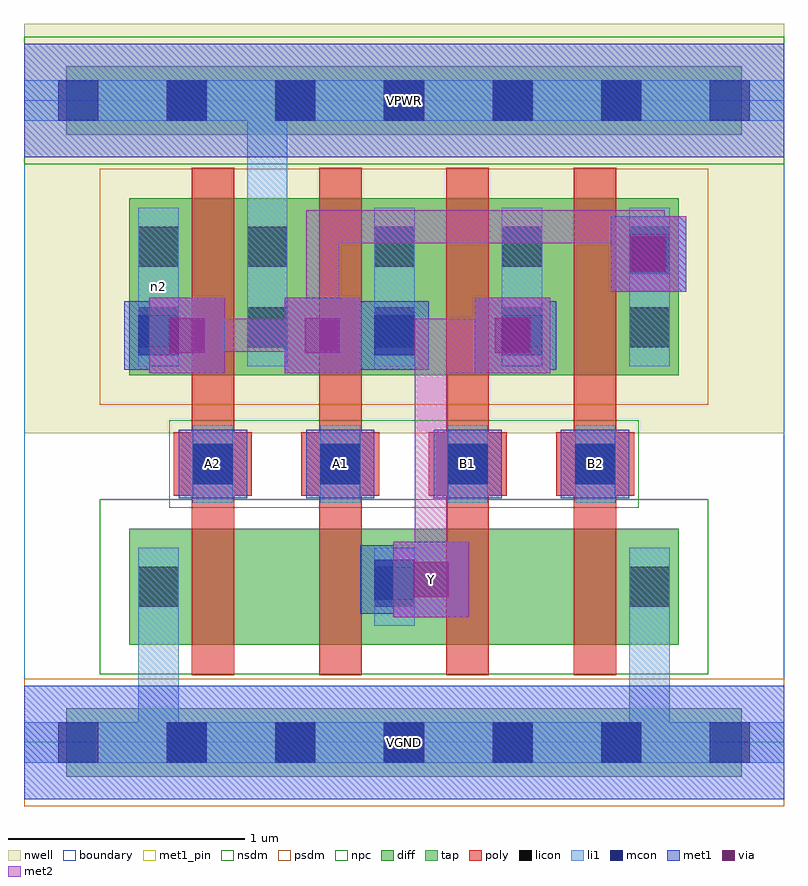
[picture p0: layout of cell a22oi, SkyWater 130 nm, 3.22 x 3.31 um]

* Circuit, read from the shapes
.subckt a22oi A1 A2 B1 B2 VGND VPWR Y n2
XM1 n1 A2 VGND VGND sky130_fd_pr__nfet_01v8 w=0.49 l=0.18
XM2 Y A1 n1 VGND sky130_fd_pr__nfet_01v8 w=0.49 l=0.18
XM3 n3 B1 Y VGND sky130_fd_pr__nfet_01v8 w=0.49 l=0.18
XM4 VGND B2 n3 VGND sky130_fd_pr__nfet_01v8 w=0.49 l=0.18
XM5 VPWR A2 n2 VPWR sky130_fd_pr__pfet_01v8 w=0.75 l=0.18
XM6 n2 A1 VPWR VPWR sky130_fd_pr__pfet_01v8 w=0.75 l=0.18
XM7 Y B1 n2 VPWR sky130_fd_pr__pfet_01v8 w=0.75 l=0.18
XM8 n2 B2 Y VPWR sky130_fd_pr__pfet_01v8 w=0.75 l=0.18
.ends

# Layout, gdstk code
import gdstk
lib = gdstk.Library(unit=1e-6, precision=1e-09)
def R(c, l, rs):  # rectangles x0, y0, x1, y1
    for r in rs: c.add(gdstk.rectangle(r[:2], r[2:], *l))
def A(c, l, x, y, w, h, nx, ny, dx, dy):  # array of equal rectangles
    R(c, l, [(x+i*dx, y+j*dy, x+i*dx+w, y+j*dy+h) for i in range(nx) for j in range(ny)])
nwell = (64, 20)
diff = (65, 20)
tap = (65, 44)
poly = (66, 20)
licon = (66, 44)
li1 = (67, 20)
mcon = (67, 44)
met1_pin = (68, 16)
met1 = (68, 20)
via = (68, 44)
met2 = (69, 20)
nsdm = (93, 44)
psdm = (94, 20)
npc = (95, 20)
boundary = (235, 4)

a22oi = lib.new_cell('a22oi')
R(a22oi, nwell, [(0,1.31,3.22,3.045)])
R(a22oi, diff, [(0.445,0.415,2.775,0.905), (0.445,1.555,2.775,2.305)])
R(a22oi, tap, [(0.18,-0.145,3.04,0.145), (0.18,2.575,3.04,2.865)])
A(a22oi, poly, 0.71, 0.285, 0.18, 2.15, 4, 1, 0.54, 0)
A(a22oi, poly, 0.635, 1.045, 0.33, 0.27, 4, 1, 0.54, 0)
A(a22oi, licon, 0.605, -0.085, 0.17, 0.17, 5, 2, 0.46, 2.72)
A(a22oi, licon, 0.715, 1.095, 0.17, 0.17, 4, 1, 0.54, 0)
A(a22oi, licon, 0.945, 1.675, 0.17, 0.17, 4, 2, 0.54, 0.34)
R(a22oi, licon, [(0.485,0.575,0.655,0.745), (1.485,0.575,1.655,0.745), (2.565,0.575,2.735,0.745), (0.485,1.675,0.655,1.845), (0.485,2.015,0.655,2.185)])
A(a22oi, li1, 0.715, 1.015, 0.17, 0.33, 4, 1, 0.54, 0)
A(a22oi, li1, 0.945, 1.595, 0.17, 0.67, 4, 1, 0.54, 0)
R(a22oi, li1, [(0,-0.085,3.22,0.085), (0.485,-0.085,0.655,0.825), (2.565,-0.085,2.735,0.825), (0.485,0.495,0.655,0.825), (1.485,0.495,1.655,0.825), (2.565,0.495,2.735,0.825), (0.485,1.595,0.655,2.265), (0.945,1.595,1.115,2.805), (0,2.635,3.22,2.805)])
A(a22oi, mcon, 0.145, -0.085, 0.17, 0.17, 7, 2, 0.46, 2.72)
A(a22oi, mcon, 0.715, 1.095, 0.17, 0.17, 4, 1, 0.54, 0)
R(a22oi, mcon, [(1.485,0.605,1.655,0.775), (0.485,1.64,0.655,1.81), (1.485,1.64,1.655,1.81), (2.025,1.64,2.195,1.81), (2.565,1.985,2.735,2.155)])
A(a22oi, met1_pin, 0.655, 1.035, 0.29, 0.29, 4, 1, 0.54, 0)
R(a22oi, met1_pin, [(0,-0.24,3.22,0.24), (1.565,0.53,1.885,0.85), (0,2.48,3.22,2.96)])
A(a22oi, met1, 0.655, 1.035, 0.29, 0.29, 4, 1, 0.54, 0)
R(a22oi, met1, [(0,-0.24,3.22,0.24), (1.565,0.53,1.885,0.85), (1.425,0.545,1.715,0.835), (1.5,0.62,1.795,0.76), (0.53,1.565,0.85,1.885), (1.105,1.565,1.425,1.885), (1.91,1.565,2.23,1.885), (0.425,1.58,0.715,1.87), (1.425,1.58,1.715,1.87), (1.965,1.58,2.255,1.87), (0.5,1.655,0.76,1.795), (1.195,1.655,1.45,1.795), (1.31,1.655,1.64,1.795), (2,1.655,2.18,1.795), (2.485,1.91,2.805,2.23), (2.505,1.925,2.795,2.215), (2.575,2,2.72,2.14), (0,2.48,3.22,2.96)])
R(a22oi, via, [(1.65,0.615,1.8,0.765), (0.615,1.65,0.765,1.8), (1.19,1.65,1.34,1.8), (1.995,1.65,2.145,1.8), (2.57,1.995,2.72,2.145)])
R(a22oi, met2, [(1.565,0.53,1.885,0.85), (1.655,0.62,1.795,1.795), (0.53,1.565,0.85,1.885), (1.105,1.565,1.425,1.885), (1.795,1.565,1.91,1.795), (1.91,1.565,2.23,1.885), (0.62,1.655,1.335,1.795), (1.195,1.655,1.335,2.255), (1.655,1.655,2.14,1.795), (2.485,1.91,2.805,2.23), (2.575,2,2.715,2.255), (1.195,2.115,2.715,2.255)])
R(a22oi, nsdm, [(0.32,0.29,2.9,1.03), (0,2.45,3.22,2.99)])
R(a22oi, psdm, [(0,-0.27,3.22,0.27), (0.32,1.43,2.9,2.43)])
R(a22oi, npc, [(0.615,0.995,2.605,1.365)])
R(a22oi, boundary, [(0,0,3.22,2.72)])
a22oi.add(gdstk.Label('n2', (0.57,1.93), layer=67, texttype=5))
a22oi.add(gdstk.Label('A1', (1.34,1.18), layer=68, texttype=5))
a22oi.add(gdstk.Label('A2', (0.8,1.18), layer=68, texttype=5))
a22oi.add(gdstk.Label('B1', (1.88,1.18), layer=68, texttype=5))
a22oi.add(gdstk.Label('B2', (2.42,1.18), layer=68, texttype=5))
a22oi.add(gdstk.Label('Y', (1.725,0.69), layer=68, texttype=5))
a22oi.add(gdstk.Label('VPWR', (1.61,2.72), layer=68, texttype=5))
a22oi.add(gdstk.Label('VGND', (1.61,0), layer=68, texttype=5))
a22oi.add(gdstk.Label('A1', (1.34,1.18), layer=68, texttype=16))
a22oi.add(gdstk.Label('A2', (0.8,1.18), layer=68, texttype=16))
a22oi.add(gdstk.Label('B1', (1.88,1.18), layer=68, texttype=16))
a22oi.add(gdstk.Label('B2', (2.42,1.18), layer=68, texttype=16))
a22oi.add(gdstk.Label('Y', (1.725,0.69), layer=68, texttype=16))
a22oi.add(gdstk.Label('VPWR', (1.61,2.72), layer=68, texttype=16))
a22oi.add(gdstk.Label('VGND', (1.61,0), layer=68, texttype=16))

lib.write_gds('a22oi.gds')
